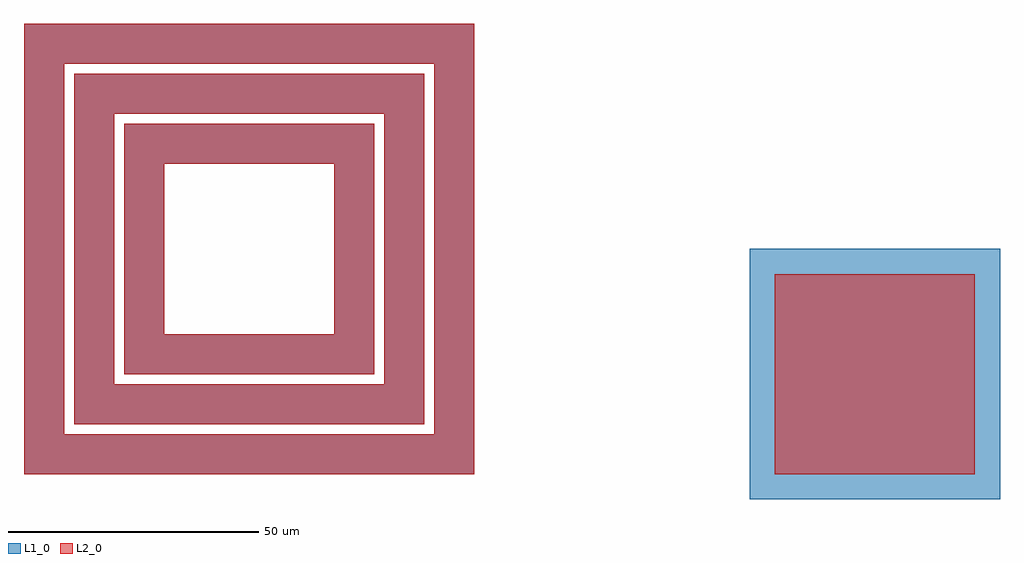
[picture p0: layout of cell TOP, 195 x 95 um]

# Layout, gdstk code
import gdstk
lib = gdstk.Library(unit=1e-6, precision=1e-09)
def R(c, l, rs):  # rectangles x0, y0, x1, y1
    for r in rs: c.add(gdstk.rectangle(r[:2], r[2:], *l))
L1_0 = (1, 0)
L2_0 = (2, 0)

top = lib.new_cell('TOP')
R(top, L1_0, [(150,0,200,50), (5,5,95,13), (5,5,13,95), (87,5,95,95), (15,15,85,23), (15,15,23,85), (77,15,85,85), (25,25,75,33), (25,25,33,75), (67,25,75,75), (25,67,75,75), (15,77,85,85), (5,87,95,95)])
R(top, L2_0, [(5,5,95,13), (5,5,13,95), (87,5,95,95), (155,5,195,45), (15,15,85,23), (15,15,23,85), (77,15,85,85), (25,25,75,33), (25,25,33,75), (67,25,75,75), (25,67,75,75), (15,77,85,85), (5,87,95,95)])

lib.write_gds('TOP.gds')
